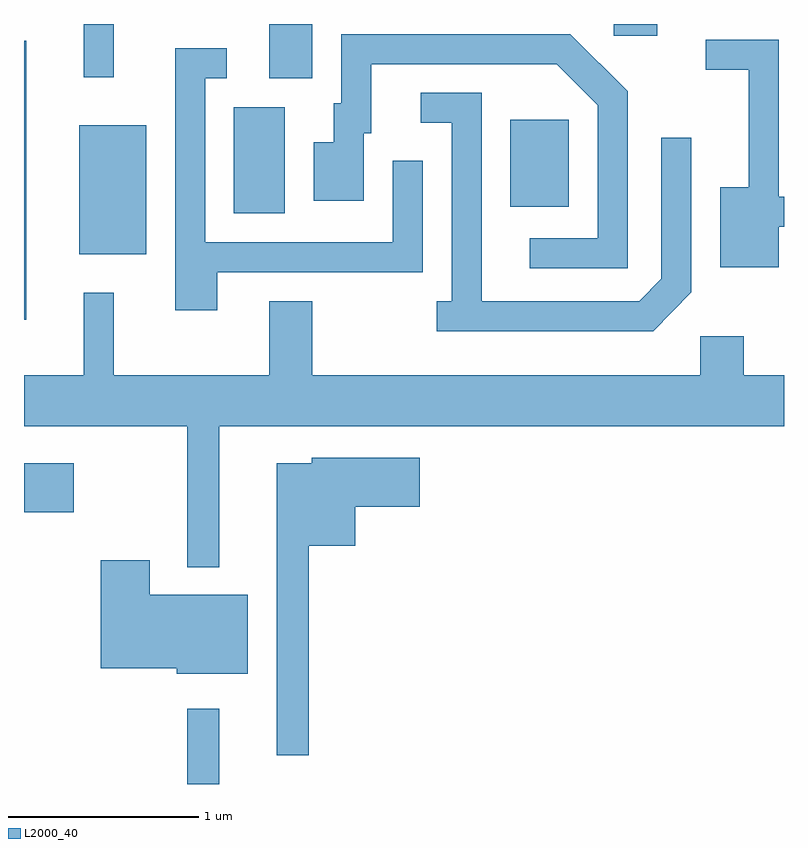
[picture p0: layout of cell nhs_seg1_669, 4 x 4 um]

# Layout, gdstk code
import gdstk
lib = gdstk.Library(unit=1e-6, precision=1e-09)
def R(c, l, rs):  # rectangles x0, y0, x1, y1
    for r in rs: c.add(gdstk.rectangle(r[:2], r[2:], *l))
def P(c, l, *ps):  # polygons
    for p in ps: c.add(gdstk.Polygon(p, *l))
L2000_40 = (2000, 40)

nhs_seg1_669 = lib.new_cell('nhs_seg1_669')
R(nhs_seg1_669, L2000_40, [(206.471,877.712,206.639,878.108), (205.611,879.141,205.874,879.399), (205.611,880.156,205.624,881.623), (205.901,880.501,206.254,881.179), (206.716,880.716,206.984,881.274), (208.171,880.751,208.479,881.209), (206.901,881.426,207.129,881.712), (205.926,881.433,206.084,881.712), (208.716,881.651,208.944,881.712)])
P(nhs_seg1_669, L2000_40, [(208.789,881.357),(208.487,881.659),(207.281,881.659),(207.281,881.294),(207.241,881.294),(207.241,881.089),(207.136,881.089),(207.136,880.781),(207.399,880.781),(207.399,881.136),(207.439,881.136),(207.439,881.501),(208.414,881.501),(208.631,881.284),(208.631,880.584),(208.273,880.584),(208.273,880.426),(208.789,880.426)],
  [(209.584,880.646),(209.611,880.646),(209.611,880.804),(209.584,880.804),(209.584,881.629),(209.198,881.629),(209.198,881.471),(209.426,881.471),(209.426,880.854),(209.276,880.854),(209.276,880.431),(209.584,880.431)],
  [(206.629,880.406),(207.709,880.406),(207.709,880.993),(207.551,880.993),(207.551,880.564),(206.564,880.564),(206.564,881.426),(206.678,881.426),(206.678,881.584),(206.406,881.584),(206.406,880.206),(206.629,880.206)],
  [(209.124,880.299),(209.124,881.113),(208.966,881.113),(208.966,880.372),(208.849,880.254),(208.019,880.254),(208.019,881.349),(207.698,881.349),(207.698,881.191),(207.861,881.191),(207.861,880.254),(207.783,880.254),(207.783,880.096),(208.922,880.096)],
  [(206.639,879.596),(209.611,879.596),(209.611,879.864),(209.399,879.864),(209.399,880.069),(209.171,880.069),(209.171,879.864),(207.129,879.864),(207.129,880.254),(206.901,880.254),(206.901,879.864),(206.084,879.864),(206.084,880.298),(205.926,880.298),(205.926,879.864),(205.611,879.864),(205.611,879.596),(206.471,879.596),(206.471,878.853),(206.639,878.853)],
  [(207.109,878.966),(207.354,878.966),(207.354,879.171),(207.694,879.171),(207.694,879.429),(207.126,879.429),(207.126,879.399),(206.941,879.399),(206.941,877.863),(207.109,877.863)],
  [(206.789,878.709),(206.274,878.709),(206.274,878.889),(206.016,878.889),(206.016,878.321),(206.416,878.321),(206.416,878.291),(206.789,878.291)])

lib.write_gds('nhs_seg1_669.gds')
